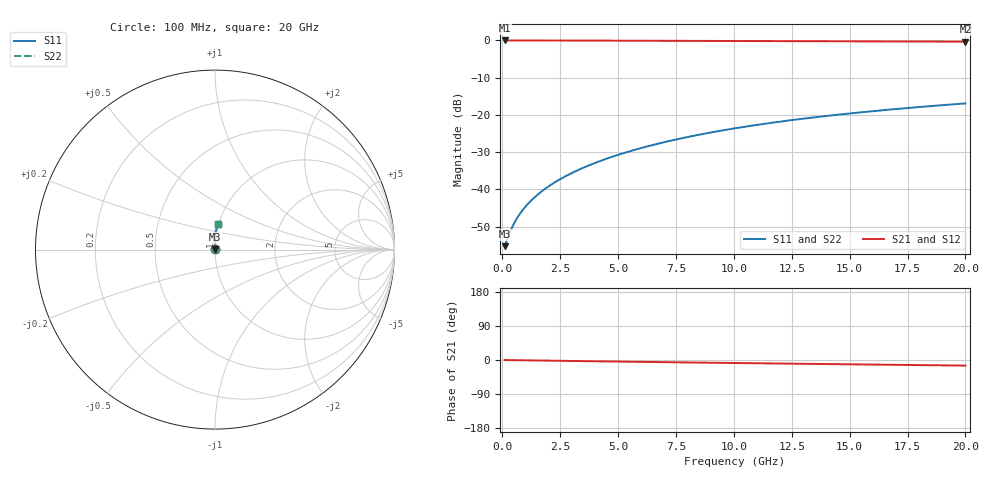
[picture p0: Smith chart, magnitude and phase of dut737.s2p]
! Touchstone file exported from HFSS 2024.1.0
!  File:  C:/UserFiles/LocalFiles/RDL_TSV_Batchsim/temp_RDL_bottom_737_1779859139.aedt
!  Generated:  01:21:38 PM May 27, 2026
!  Design:  RDL_bottom
!  Project:  temp_RDL_bottom_737_1779859139
!  Setup:  Setup1
!  Solution:  Sweep
! Variables:
!  dtsv = 10.80580581um
!  hbump = 3um
!  htsv = 74.79um
!  ldown = 191.95um
!  lrdl = 100um
!  p = 40
!  p1 = 47.79um
!  rhole = 1um
!  t = 450um
!  tdown = 2.09um
!  trdl = 3.915915916um
!  wdown = 28.55um
!  wrdl = 20um
# GHz S MA R 50.000000
! Terminal data exported
! Port[1] = RDL1_T1
! Port[2] = RDL1_T2
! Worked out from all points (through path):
!   200 points, 100 MHz to 20 GHz, reference 50 ohm
!   highest |S21| = -0.01 dB at 100 MHz (marker M1); lowest = -0.3 dB at 20 GHz (marker M2)
!   group delay of S21, straight-line fit = 2.03 ps
!   lowest |S11| = -55.3 dB at 100 MHz (marker M3), VSWR 1.00, Z = 50.2 + j0.0632 ohm
!   |S11| at or under -10 dB: start of sweep to end of sweep
!   |S22| runs from -55.3 to -16.9 dB; largest |S21 - S12| = 4e-15
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0.1  0.001725 21.4  0.9984 -0.1  0.9984 -0.1  0.001725 21.4
! Gamma 0 0 0 0
! Port Impedance 50 0 50 0
0.4  0.002973 53.6  0.9982 -0.4  0.9982 -0.4  0.002973 53.6
0.5  0.003451 58.3  0.9981 -0.5  0.9981 -0.5  0.003451 58.3
0.6  0.00393 61.9  0.998 -0.5  0.998 -0.5  0.00393 61.9
0.7  0.004408 64.9  0.9979 -0.6  0.9979 -0.6  0.004408 64.9
0.9  0.00537 69.4  0.9977 -0.8  0.9977 -0.8  0.00537 69.4
1.2  0.00684 74.4  0.9974 -1.1  0.9974 -1.1  0.00684 74.4
1.4  0.007843 76.9  0.9972 -1.2  0.9972 -1.2  0.007844 76.9
1.7  0.009385 79.9  0.9969 -1.5  0.9969 -1.5  0.009385 79.9
2.2  0.01205 83.6  0.9964 -1.9  0.9964 -1.9  0.01205 83.6
2.8  0.0154 86.6  0.9955 -2.4  0.9955 -2.4  0.0154 86.6
3.5  0.01951 89.0  0.9943 -3.0  0.9943 -3.0  0.01951 89.0
4.2  0.02384 90.7  0.993 -3.6  0.993 -3.6  0.02384 90.7
5  0.02905 91.9  0.9914 -4.2  0.9914 -4.2  0.02905 91.9
5.9  0.03519 92.6  0.9895 -4.9  0.9895 -4.9  0.03519 92.6
6.8  0.04159 92.9  0.9876 -5.6  0.9876 -5.6  0.04159 92.9
8.4  0.05344 92.5  0.9841 -6.8  0.9841 -6.8  0.05344 92.5
10.1  0.06644 91.5  0.9805 -8.0  0.9805 -8.0  0.06643 91.5
11.7  0.07884 90.2  0.9772 -9.1  0.9772 -9.1  0.07884 90.2
13.4  0.09206 88.7  0.974 -10.3  0.974 -10.3  0.09206 88.7
16.7  0.1175 85.6  0.9679 -12.6  0.9679 -12.6  0.1175 85.6
20  0.1425 82.6  0.962 -14.8  0.962 -14.8  0.1425 82.6
